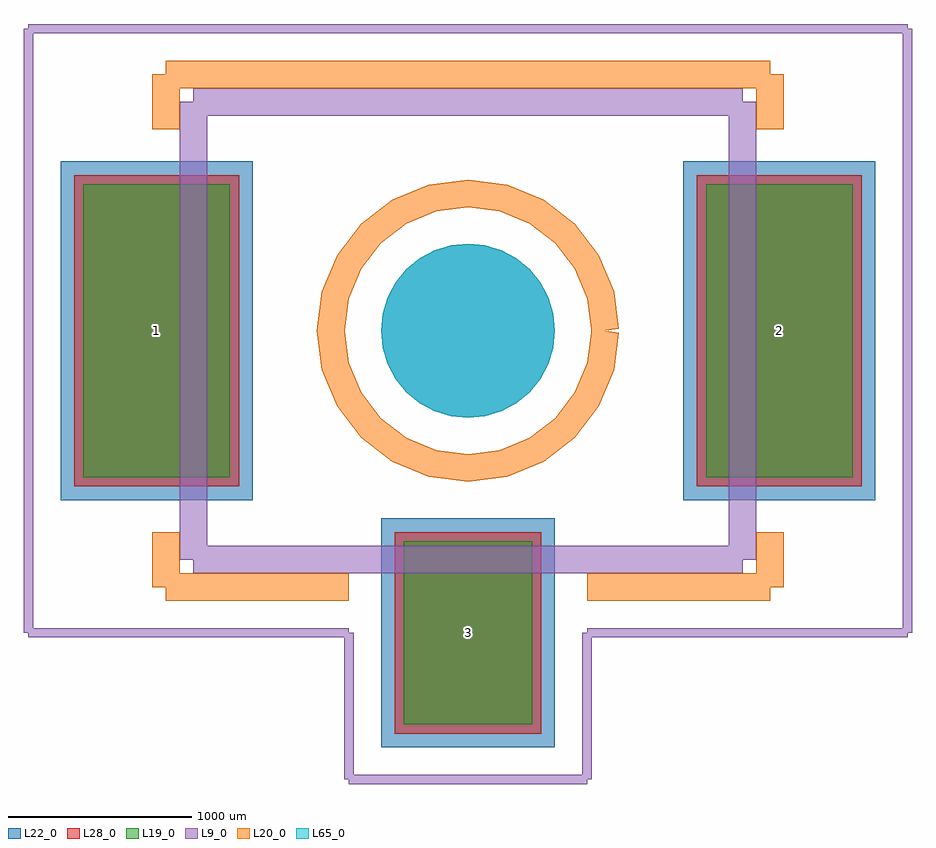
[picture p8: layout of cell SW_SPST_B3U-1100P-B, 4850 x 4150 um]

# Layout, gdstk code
import gdstk
lib = gdstk.Library(unit=1e-6, precision=1e-09)
def R(c, l, rs):  # rectangles x0, y0, x1, y1
    for r in rs: c.add(gdstk.rectangle(r[:2], r[2:], *l))
def P(c, l, *ps):  # polygons
    for p in ps: c.add(gdstk.Polygon(p, *l))
L9_0 = (9, 0)
L19_0 = (19, 0)
L20_0 = (20, 0)
L22_0 = (22, 0)
L28_0 = (28, 0)
L65_0 = (65, 0)

sw_spst_b3u_1100p_b = lib.new_cell('SW_SPST_B3U-1100P-B')
R(sw_spst_b3u_1100p_b, L19_0, [(-350,-2150,350,-1150), (-2100,-800,-1300,800), (1300,-800,2100,800)])
R(sw_spst_b3u_1100p_b, L22_0, [(-475,-2275,475,-1025), (-2225,-925,-1175,925), (1175,-925,2225,925)])
P(sw_spst_b3u_1100p_b, L22_0, [(475,0),(465.873,92.668),(438.843,181.775),(394.948,263.896),(335.876,335.876),(263.896,394.948),(181.775,438.843),(92.668,465.873),(0,475),(-92.668,465.873),(-181.775,438.843),(-263.896,394.948),(-335.876,335.876),(-394.948,263.896),(-438.843,181.775),(-465.873,92.668),(-475,0),(-465.873,-92.668),(-438.843,-181.775),(-394.948,-263.896),(-335.876,-335.876),(-263.896,-394.948),(-181.775,-438.843),(-92.668,-465.873),(0,-475),(92.668,-465.873),(181.775,-438.843),(263.896,-394.948),(335.876,-335.876),(394.948,-263.896),(438.843,-181.775),(465.873,-92.668)])
R(sw_spst_b3u_1100p_b, L28_0, [(-400,-2200,400,-1100), (-2150,-850,-1250,850), (1250,-850,2150,850)])
P(sw_spst_b3u_1100p_b, L65_0, [(475,0),(465.873,92.668),(438.843,181.775),(394.948,263.896),(335.876,335.876),(263.896,394.948),(181.775,438.843),(92.668,465.873),(0,475),(-92.668,465.873),(-181.775,438.843),(-263.896,394.948),(-335.876,335.876),(-394.948,263.896),(-438.843,181.775),(-465.873,92.668),(-475,0),(-465.873,-92.668),(-438.843,-181.775),(-394.948,-263.896),(-335.876,-335.876),(-263.896,-394.948),(-181.775,-438.843),(-92.668,-465.873),(0,-475),(92.668,-465.873),(181.775,-438.843),(263.896,-394.948),(335.876,-335.876),(394.948,-263.896),(438.843,-181.775),(465.873,-92.668)])
sw_spst_b3u_1100p_b.add(gdstk.FlexPath([(-1500,-1250),(-1500,1250)], 149.998, ends="flush", simple_path=True, layer=9, datatype=0))  # L9_0
sw_spst_b3u_1100p_b.add(gdstk.FlexPath([(1500,-1250),(-1500,-1250)], 149.998, ends="flush", simple_path=True, layer=9, datatype=0))  # L9_0
sw_spst_b3u_1100p_b.add(gdstk.FlexPath([(1500,1250),(1500,-1250)], 149.998, ends="flush", simple_path=True, layer=9, datatype=0))  # L9_0
sw_spst_b3u_1100p_b.add(gdstk.FlexPath([(-1500,1250),(1500,1250)], 149.998, ends="flush", simple_path=True, layer=9, datatype=0))  # L9_0
sw_spst_b3u_1100p_b.add(gdstk.FlexPath([(1650,1400),(1650,1100)], 149.998, ends="flush", simple_path=True, layer=20, datatype=0))  # L20_0
sw_spst_b3u_1100p_b.add(gdstk.FlexPath([(-1650,1400),(1650,1400)], 149.998, ends="flush", simple_path=True, layer=20, datatype=0))  # L20_0
sw_spst_b3u_1100p_b.add(gdstk.FlexPath([(-1650,1100),(-1650,1400)], 149.998, ends="flush", simple_path=True, layer=20, datatype=0))  # L20_0
sw_spst_b3u_1100p_b.add(gdstk.FlexPath([(1650,-1400),(1650,-1100)], 149.998, ends="flush", simple_path=True, layer=20, datatype=0))  # L20_0
sw_spst_b3u_1100p_b.add(gdstk.FlexPath([(1650,-1400),(650,-1400)], 149.998, ends="flush", simple_path=True, layer=20, datatype=0))  # L20_0
sw_spst_b3u_1100p_b.add(gdstk.FlexPath([(-1650,-1100),(-1650,-1400)], 149.998, ends="flush", simple_path=True, layer=20, datatype=0))  # L20_0
sw_spst_b3u_1100p_b.add(gdstk.FlexPath([(750,0),(724.444,194.114),(649.519,375),(530.33,530.33),(375,649.519),(194.114,724.444),(0,750),(-194.114,724.444),(-375,649.519),(-530.33,530.33),(-649.519,375),(-724.444,194.114),(-750,0),(-724.444,-194.114),(-649.519,-375),(-530.33,-530.33),(-375,-649.519),(-194.114,-724.444),(0,-750),(194.114,-724.444),(375,-649.519),(530.33,-530.33),(649.519,-375),(724.444,-194.114),(750,0)], 149.998, ends="flush", simple_path=True, layer=20, datatype=0))  # L20_0
sw_spst_b3u_1100p_b.add(gdstk.FlexPath([(-2400,1650),(-2400,-1650)], 50, ends="flush", simple_path=True, layer=9, datatype=0))  # L9_0
sw_spst_b3u_1100p_b.add(gdstk.FlexPath([(2400,1650),(-2400,1650)], 50, ends="flush", simple_path=True, layer=9, datatype=0))  # L9_0
sw_spst_b3u_1100p_b.add(gdstk.FlexPath([(2400,-1650),(2400,1650)], 50, ends="flush", simple_path=True, layer=9, datatype=0))  # L9_0
sw_spst_b3u_1100p_b.add(gdstk.FlexPath([(-2400,-1650),(-650,-1650)], 50, ends="flush", simple_path=True, layer=9, datatype=0))  # L9_0
sw_spst_b3u_1100p_b.add(gdstk.FlexPath([(-1650,-1400),(-650,-1400)], 149.998, ends="flush", simple_path=True, layer=20, datatype=0))  # L20_0
sw_spst_b3u_1100p_b.add(gdstk.FlexPath([(650,-1650),(2400,-1650)], 50, ends="flush", simple_path=True, layer=9, datatype=0))  # L9_0
sw_spst_b3u_1100p_b.add(gdstk.FlexPath([(650,-2450),(650,-1650)], 50, ends="flush", simple_path=True, layer=9, datatype=0))  # L9_0
sw_spst_b3u_1100p_b.add(gdstk.FlexPath([(-650,-2450),(650,-2450)], 50, ends="flush", simple_path=True, layer=9, datatype=0))  # L9_0
sw_spst_b3u_1100p_b.add(gdstk.FlexPath([(-650,-1650),(-650,-2450)], 50, ends="flush", simple_path=True, layer=9, datatype=0))  # L9_0
sw_spst_b3u_1100p_b.add(gdstk.Label('3', (0,-1650), layer=28, texttype=0))
sw_spst_b3u_1100p_b.add(gdstk.Label('2', (1700,0), layer=28, texttype=0))
sw_spst_b3u_1100p_b.add(gdstk.Label('1', (-1700,0), layer=28, texttype=0))
sw_spst_b3u_1100p_b.add(gdstk.Label('type', (0,-3500), layer=9, texttype=0))
sw_spst_b3u_1100p_b.add(gdstk.Label('devicename', (0,2500), layer=9, texttype=0))

lib.write_gds('SW_SPST_B3U-1100P-B.gds')
